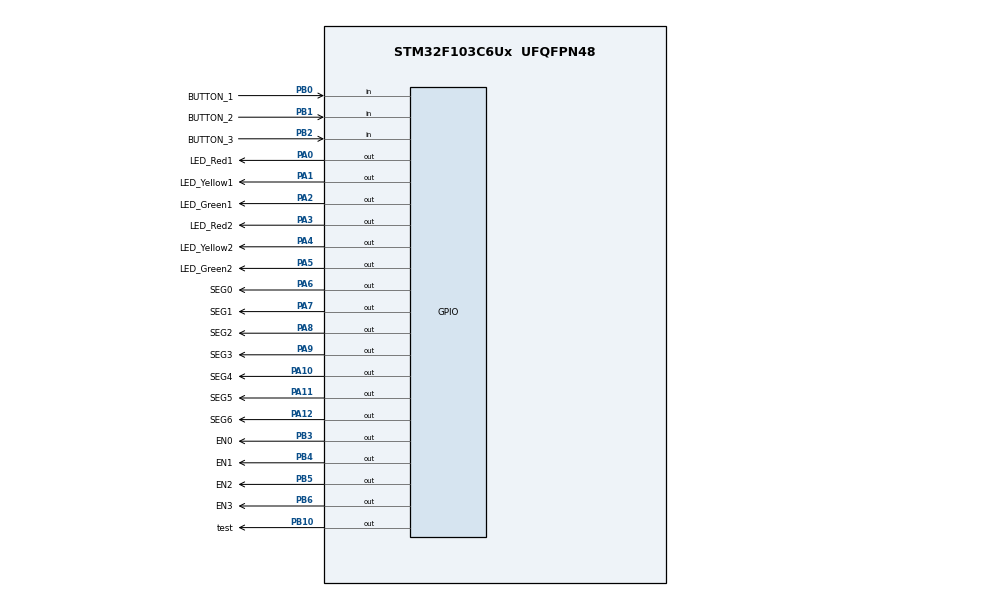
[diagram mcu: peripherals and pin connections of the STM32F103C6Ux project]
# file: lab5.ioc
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Mcu.Family=STM32F1
Mcu.Name=STM32F103C6Ux
Mcu.Package=UFQFPN48
NVIC.PriorityGroup=NVIC_PRIORITYGROUP_4
NVIC.TIM2_IRQn=true\:0\:0\:false\:false\:true\:true\:true
PA0-WKUP.GPIO_Label=LED_Red1
PA0-WKUP.Signal=GPIO_Output
PA1.GPIO_Label=LED_Yellow1
PA1.Signal=GPIO_Output
PA10.GPIO_Label=SEG4
PA10.Signal=GPIO_Output
PA11.GPIO_Label=SEG5
PA11.Signal=GPIO_Output
PA12.GPIO_Label=SEG6
PA12.Signal=GPIO_Output
PA2.GPIO_Label=LED_Green1
PA2.Signal=GPIO_Output
PA3.GPIO_Label=LED_Red2
PA3.Signal=GPIO_Output
PA4.GPIO_Label=LED_Yellow2
PA4.Signal=GPIO_Output
PA5.GPIO_Label=LED_Green2
PA5.Signal=GPIO_Output
PA6.GPIO_Label=SEG0
PA6.Signal=GPIO_Output
PA7.GPIO_Label=SEG1
PA7.Signal=GPIO_Output
PA8.GPIO_Label=SEG2
PA8.Signal=GPIO_Output
PA9.GPIO_Label=SEG3
PA9.Signal=GPIO_Output
PB0.GPIO_Label=BUTTON_1
PB0.GPIO_PuPd=GPIO_PULLUP
PB0.Signal=GPIO_Input
PB1.GPIO_Label=BUTTON_2
PB1.GPIO_PuPd=GPIO_PULLUP
PB1.Signal=GPIO_Input
PB10.GPIO_Label=test
PB10.Signal=GPIO_Output
PB2.GPIO_Label=BUTTON_3
PB2.GPIO_PuPd=GPIO_PULLUP
PB2.Signal=GPIO_Input
PB3.GPIO_Label=EN0
PB3.Signal=GPIO_Output
PB4.GPIO_Label=EN1
PB4.Signal=GPIO_Output
PB5.GPIO_Label=EN2
PB5.Signal=GPIO_Output
PB6.GPIO_Label=EN3
PB6.Signal=GPIO_Output
ProjectManager.HeapSize=0x200
ProjectManager.StackSize=0x400
ProjectManager.TargetToolchain=STM32CubeIDE
RCC.APB1Freq_Value=8000000
RCC.APB2Freq_Value=8000000
TIM2.Period=9
TIM2.Prescaler=7999
VP_SYS_VS_ND.Mode=No_Debug
VP_TIM2_VS_ClockSourceINT.Mode=Internal
board=custom

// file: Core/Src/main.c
/* USER CODE BEGIN Header */
/**
  ******************************************************************************
  * @file           : main.c
  * @brief          : Main program body
  ******************************************************************************
  * @attention
  *
  * <h2><center>&copy; Copyright (c) 2023 STMicroelectronics.
  * All rights reserved.</center></h2>
  *
  * This software component is licensed by ST under BSD 3-Clause license,
  * the "License"; You may not use this file except in compliance with the
  * License. You may obtain a copy of the License at:
  *                        opensource.org/licenses/BSD-3-Clause
  *
  ******************************************************************************
  */
/* USER CODE END Header */
#include "main.h"
#include "global.h"
#include "scheduler.h"

TIM_HandleTypeDef htim2;

void SystemClock_Config(void);
static void MX_GPIO_Init(void);
static void MX_TIM2_Init(void);

/* USER CODE BEGIN 0 */
void HAL_TIM_PeriodElapsedCallback ( TIM_HandleTypeDef * htim ) {
	button_reading();
	SCH_Update();
	//timerRun();
}
//void LED_Blink(){
//	HAL_GPIO_TogglePin(LED_Red1_GPIO_Port, LED_Red1_Pin);
//}
//
//void LED_Blink2(){
//	HAL_GPIO_TogglePin(LED_Yellow1_GPIO_Port, LED_Yellow1_Pin);
//}

/* USER CODE END 0 */

int main(void)
{

  /* MCU Configuration--------------------------------------------------------*/

  /* Reset of all peripherals, Initializes the Flash interface and the Systick. */
  HAL_Init();

  /* Configure the system clock */
  SystemClock_Config();

  /* Initialize all configured peripherals */
  MX_GPIO_Init();
  MX_TIM2_Init();
  /* USER CODE BEGIN 2 */
  HAL_TIM_Base_Start_IT (& htim2 );
  /* USER CODE END 2 */

  /* Infinite loop */
  /* USER CODE BEGIN WHILE */
  setTimer3(25);
  setTimer4(50);
//  SCH_Add_Task(LED_Blink, 0, 100);
//  SCH_Add_Task(LED_Blink2, 1, 200);
  int led_idx=0;
  SCH_Init();
  SCH_Add_Task(normalState,0,1);
  SCH_Add_Task(timerRun,0,1);
  while (1)
  {
	  if(timer3_flag==1) {
	   	 setTimer3(25);
	   	 update7SEG(led_idx++);
	   	 if(led_idx>=4) led_idx=0;
	   	}
	  if(timer4_flag==1) {
		  updateBuffer();
		  setTimer4(50);
	  }
//	 normalState();
	  SCH_Dispatch_Tasks();

    /* USER CODE END WHILE */

  }
}

void SystemClock_Config(void)
{
  RCC_OscInitTypeDef RCC_OscInitStruct = {0};
  RCC_ClkInitTypeDef RCC_ClkInitStruct = {0};

  /** Initializes the RCC Oscillators according to the specified parameters
  * in the RCC_OscInitTypeDef structure.
  */
  RCC_OscInitStruct.OscillatorType = RCC_OSCILLATORTYPE_HSI;
  RCC_OscInitStruct.HSIState = RCC_HSI_ON;
  RCC_OscInitStruct.HSICalibrationValue = RCC_HSICALIBRATION_DEFAULT;
  RCC_OscInitStruct.PLL.PLLState = RCC_PLL_NONE;
  if (HAL_RCC_OscConfig(&RCC_OscInitStruct) != HAL_OK)
  {
    Error_Handler();
  }
  /** Initializes the CPU, AHB and APB buses clocks
  */
  RCC_ClkInitStruct.ClockType = RCC_CLOCKTYPE_HCLK|RCC_CLOCKTYPE_SYSCLK
                              |RCC_CLOCKTYPE_PCLK1|RCC_CLOCKTYPE_PCLK2;
  RCC_ClkInitStruct.SYSCLKSource = RCC_SYSCLKSOURCE_HSI;
  RCC_ClkInitStruct.AHBCLKDivider = RCC_SYSCLK_DIV1;
  RCC_ClkInitStruct.APB1CLKDivider = RCC_HCLK_DIV1;
  RCC_ClkInitStruct.APB2CLKDivider = RCC_HCLK_DIV1;

  if (HAL_RCC_ClockConfig(&RCC_ClkInitStruct, FLASH_LATENCY_0) != HAL_OK)
  {
    Error_Handler();
  }
}

static void MX_TIM2_Init(void)
{

  TIM_ClockConfigTypeDef sClockSourceConfig = {0};
  TIM_MasterConfigTypeDef sMasterConfig = {0};

  htim2.Instance = TIM2;
  htim2.Init.Prescaler = 7999;
  htim2.Init.CounterMode = TIM_COUNTERMODE_UP;
  htim2.Init.Period = 9;
  htim2.Init.ClockDivision = TIM_CLOCKDIVISION_DIV1;
  htim2.Init.AutoReloadPreload = TIM_AUTORELOAD_PRELOAD_DISABLE;
  if (HAL_TIM_Base_Init(&htim2) != HAL_OK)
  {
    Error_Handler();
  }
  sClockSourceConfig.ClockSource = TIM_CLOCKSOURCE_INTERNAL;
  if (HAL_TIM_ConfigClockSource(&htim2, &sClockSourceConfig) != HAL_OK)
  {
    Error_Handler();
  }
  sMasterConfig.MasterOutputTrigger = TIM_TRGO_RESET;
  sMasterConfig.MasterSlaveMode = TIM_MASTERSLAVEMODE_DISABLE;
  if (HAL_TIMEx_MasterConfigSynchronization(&htim2, &sMasterConfig) != HAL_OK)
  {
    Error_Handler();
  }

}

static void MX_GPIO_Init(void)
{
  GPIO_InitTypeDef GPIO_InitStruct = {0};

  /* GPIO Ports Clock Enable */
  __HAL_RCC_GPIOA_CLK_ENABLE();
  __HAL_RCC_GPIOB_CLK_ENABLE();

  /*Configure GPIO pin Output Level */
  HAL_GPIO_WritePin(GPIOA, LED_Red1_Pin|LED_Yellow1_Pin|LED_Green1_Pin|LED_Red2_Pin
                          |LED_Yellow2_Pin|LED_Green2_Pin|SEG0_Pin|SEG1_Pin
                          |SEG2_Pin|SEG3_Pin|SEG4_Pin|SEG5_Pin
                          |SEG6_Pin, GPIO_PIN_RESET);

  /*Configure GPIO pin Output Level */
  HAL_GPIO_WritePin(GPIOB, test_Pin|EN0_Pin|EN1_Pin|EN2_Pin
                          |EN3_Pin, GPIO_PIN_RESET);

  /*Configure GPIO pins : LED_Red1_Pin LED_Yellow1_Pin LED_Green1_Pin LED_Red2_Pin
                           LED_Yellow2_Pin LED_Green2_Pin SEG0_Pin SEG1_Pin
                           SEG2_Pin SEG3_Pin SEG4_Pin SEG5_Pin
                           SEG6_Pin */
  GPIO_InitStruct.Pin = LED_Red1_Pin|LED_Yellow1_Pin|LED_Green1_Pin|LED_Red2_Pin
                          |LED_Yellow2_Pin|LED_Green2_Pin|SEG0_Pin|SEG1_Pin
                          |SEG2_Pin|SEG3_Pin|SEG4_Pin|SEG5_Pin
                          |SEG6_Pin;
  GPIO_InitStruct.Mode = GPIO_MODE_OUTPUT_PP;
  GPIO_InitStruct.Pull = GPIO_NOPULL;
  GPIO_InitStruct.Speed = GPIO_SPEED_FREQ_LOW;
  HAL_GPIO_Init(GPIOA, &GPIO_InitStruct);

  /*Configure GPIO pins : BUTTON_1_Pin BUTTON_2_Pin BUTTON_3_Pin */
  GPIO_InitStruct.Pin = BUTTON_1_Pin|BUTTON_2_Pin|BUTTON_3_Pin;
  GPIO_InitStruct.Mode = GPIO_MODE_INPUT;
  GPIO_InitStruct.Pull = GPIO_PULLUP;
  HAL_GPIO_Init(GPIOB, &GPIO_InitStruct);

  /*Configure GPIO pins : test_Pin EN0_Pin EN1_Pin EN2_Pin
                           EN3_Pin */
  GPIO_InitStruct.Pin = test_Pin|EN0_Pin|EN1_Pin|EN2_Pin
                          |EN3_Pin;
  GPIO_InitStruct.Mode = GPIO_MODE_OUTPUT_PP;
  GPIO_InitStruct.Pull = GPIO_NOPULL;
  GPIO_InitStruct.Speed = GPIO_SPEED_FREQ_LOW;
  HAL_GPIO_Init(GPIOB, &GPIO_InitStruct);

}

void Error_Handler(void)
{
  __disable_irq();
  while (1)
  {
  }
}

/************************ (C) COPYRIGHT STMicroelectronics *****END OF FILE****/
